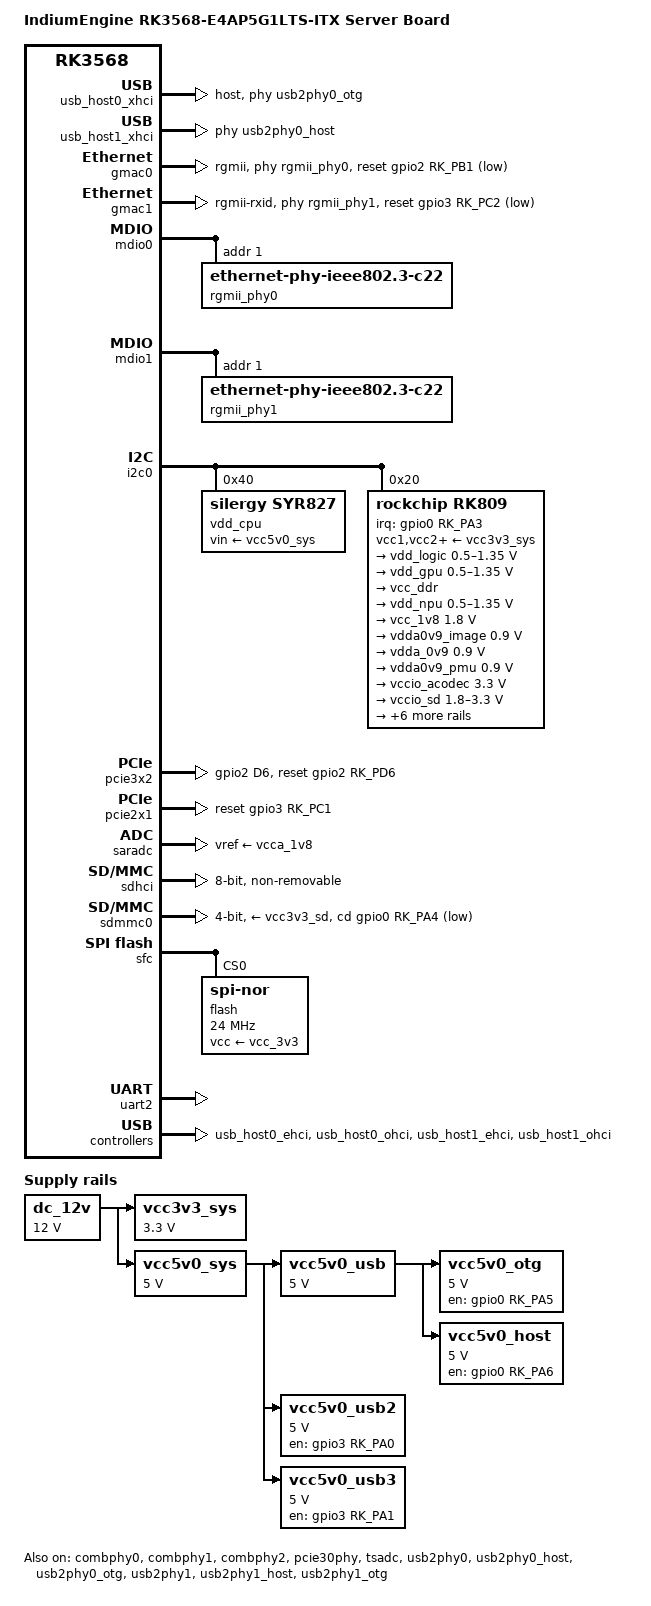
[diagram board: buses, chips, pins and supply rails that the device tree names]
// SPDX-License-Identifier: (GPL-2.0+ OR MIT)
/*
 * Device tree for the IndiumEngine RK3568-E4AP5G1LTS-ITX server board
 * (3-SATA variant) for FreeBSD.
 *
 * Ported from the vendor Linux 6.1 sources:
 *   doc/vendor/rk3568-e4ap5g1lts-itx.dtsi
 *   doc/vendor/rk3568-e4ap5g1lts-itx-3sata.dts
 *
 * Board-specific facts carried over:
 *   - console on uart2 (ttyS2 style, 115200n8)
 *   - RK809 PMIC on i2c0 + SYR827 CPU regulator
 *   - SD (sdmmc0, cd-gpio GPIO0_A4) and eMMC (sdhci, 8-bit)
 *   - all three combinational phys in SATA mode (multiphy mux selects
 *     forced active-low by U-Boot; kept as always-on fixed regulators)
 *   - USB3 super-speed lanes disabled (dwc3 limited to high-speed)
 *   - two RGMII GMACs with Realtek PHYs
 *   - SPI NOR on sfc, PCIe3x2 slot with GPIO reset
 * FreeBSD has no VOP2/HDMI display support, so the display pipeline is
 * left out on purpose.
 */

/dts-v1/;

#include <dt-bindings/gpio/gpio.h>
#include <dt-bindings/interrupt-controller/irq.h>
#include <dt-bindings/pinctrl/rockchip.h>
#include "rk3568.dtsi"

/ {
	model = "IndiumEngine RK3568-E4AP5G1LTS-ITX Server Board";
	compatible = "rockchip,rk3568-e4ap5g1-itx", "rockchip,rk3568";

	aliases {
		ethernet0 = &gmac0;
		ethernet1 = &gmac1;
		mmc0 = &sdmmc0;
		mmc1 = &sdhci;
		serial2 = &uart2;
	};

	chosen {
		stdout-path = "serial2:115200n8";
	};

	dc_12v: regulator-dc-12v {
		compatible = "regulator-fixed";
		regulator-name = "dc_12v";
		regulator-always-on;
		regulator-boot-on;
		regulator-min-microvolt = <12000000>;
		regulator-max-microvolt = <12000000>;
	};

	vcc3v3_sys: regulator-vcc3v3-sys {
		compatible = "regulator-fixed";
		regulator-name = "vcc3v3_sys";
		regulator-always-on;
		regulator-boot-on;
		regulator-min-microvolt = <3300000>;
		regulator-max-microvolt = <3300000>;
		vin-supply = <&dc_12v>;
	};

	vcc5v0_sys: regulator-vcc5v0-sys {
		compatible = "regulator-fixed";
		regulator-name = "vcc5v0_sys";
		regulator-always-on;
		regulator-boot-on;
		regulator-min-microvolt = <5000000>;
		regulator-max-microvolt = <5000000>;
		vin-supply = <&dc_12v>;
	};

	vcc5v0_usb: regulator-vcc5v0-usb {
		compatible = "regulator-fixed";
		regulator-name = "vcc5v0_usb";
		regulator-always-on;
		regulator-boot-on;
		regulator-min-microvolt = <5000000>;
		regulator-max-microvolt = <5000000>;
		vin-supply = <&vcc5v0_sys>;
	};

	/*
	 * GPIO-gated 5V rails feeding the USB Type-A connectors
	 * (gpio0_A5 = OTG-side jack VBUS, gpio0_A6 = host-jack VBUS),
	 * matching doc/vendor/rk3568-e4ap5g1lts-itx.dtsi.  These pins were
	 * previously recorded as "multiphy mux" placeholders that held both
	 * lines low, leaving every onboard USB port unpowered.
	 */
	vcc5v0_otg: regulator-vcc5v0-otg {
		compatible = "regulator-fixed";
		regulator-name = "vcc5v0_otg";
		regulator-min-microvolt = <5000000>;
		regulator-max-microvolt = <5000000>;
		gpio = <&gpio0 RK_PA5 GPIO_ACTIVE_HIGH>;
		enable-active-high;
		regulator-boot-on;
		vin-supply = <&vcc5v0_usb>;
	};

	vcc5v0_host: regulator-vcc5v0-host {
		compatible = "regulator-fixed";
		regulator-name = "vcc5v0_host";
		regulator-min-microvolt = <5000000>;
		regulator-max-microvolt = <5000000>;
		gpio = <&gpio0 RK_PA6 GPIO_ACTIVE_HIGH>;
		enable-active-high;
		regulator-boot-on;
		vin-supply = <&vcc5v0_usb>;
	};

	/*
	 * Type-A socket VBUS gates on GPIO3_A0/A1 (schematic USB2_VBUS_EN /
	 * USB3_VBUS_EN).  These are the rails the vendor and Linux trees
	 * wire every usb2phy port supply to; without them the panel
	 * connectors stay unpowered no matter what the USB2PHY lane does.
	 * No pinctrl-0 here on purpose: the rockchip pinctrl nodes are not
	 * consumed by the FreeBSD fixed-regulator driver and the GPIO is
	 * driven directly.
	 */
	vcc5v0_usb2: regulator-vcc5v0-usb2 {
		compatible = "regulator-fixed";
		regulator-name = "vcc5v0_usb2";
		regulator-min-microvolt = <5000000>;
		regulator-max-microvolt = <5000000>;
		gpio = <&gpio3 RK_PA0 GPIO_ACTIVE_HIGH>;
		enable-active-high;
		regulator-boot-on;
		vin-supply = <&vcc5v0_sys>;
	};

	vcc5v0_usb3: regulator-vcc5v0-usb3 {
		compatible = "regulator-fixed";
		regulator-name = "vcc5v0_usb3";
		regulator-min-microvolt = <5000000>;
		regulator-max-microvolt = <5000000>;
		gpio = <&gpio3 RK_PA1 GPIO_ACTIVE_HIGH>;
		enable-active-high;
		regulator-boot-on;
		vin-supply = <&vcc5v0_sys>;
	};
};

/*
 * All three combinational phys enabled (SATA lanes are not used by the
 * FreeBSD bring-up; combphy0/1 keep USB3, combphy2 is idle/PCIe).
 */
&combphy0 {
	status = "okay";
};

&combphy1 {
	status = "okay";
};

&combphy2 {
	status = "okay";
};

/*
 * SATA disabled for FreeBSD NFS bring-up: the dwc-ahci probe of
 * sata@fc400000 (sata1) triggers an SoC external abort (esr 0xbe000011)
 * during channel init, before NFS root mounts.  The bring-up targets are
 * NFS root over gmac1 and the PCIe x4 slot (EHCI card + RTL8188EU),
 * neither of which needs SATA.  Re-enable once the AHCI abort is fixed.
 */
&sata0 {
	status = "disabled";
};

&sata1 {
	status = "disabled";
};

&sata2 {
	status = "disabled";
};

/*
 * USB3 super-speed lanes are muxed to SATA on this board, so both dwc3
 * controllers are limited to USB 2.0 high speed.
 */
&usb_host0_xhci {
	dr_mode = "host";
	phys = <&usb2phy0_otg>;
	phy-names = "usb2-phy";
	maximum-speed = "high-speed";
	status = "okay";
};

&usb_host1_xhci {
	phys = <&usb2phy0_host>;
	phy-names = "usb2-phy";
	maximum-speed = "high-speed";
	status = "okay";
};

&gmac0 {
	assigned-clocks = <&cru SCLK_GMAC0_RX_TX>, <&cru SCLK_GMAC0>;
	assigned-clock-parents = <&cru SCLK_GMAC0_RGMII_SPEED>;
	assigned-clock-rates = <0>, <125000000>;

	clock_in_out = "output";
	phy-handle = <&rgmii_phy0>;
	phy-mode = "rgmii";
	pinctrl-names = "default";
	pinctrl-0 = <&gmac0_miim
		     &gmac0_tx_bus2
		     &gmac0_rx_bus2
		     &gmac0_rgmii_clk
		     &gmac0_rgmii_bus>;
	snps,reset-gpio = <&gpio2 RK_PB1 GPIO_ACTIVE_LOW>;
	snps,reset-active-low;
	snps,reset-delays-us = <0 20000 100000>;
	tx_delay = <0x4f>;
	rx_delay = <0x26>;
	/*
	 * Fixed board MACs (U-Boot ethaddr convention: gmac0 = f6:dc:54:d8:f1:a6,
	 * gmac1 = ethaddr+4 = fa:dc:54:d8:f1:a6).  The eqos driver reads these
	 * from DT because the U-Boot-written MAC is lost on GMAC soft reset.
	 */
	local-mac-address = [f6 dc 54 d8 f1 a6];
	status = "okay";
};

&gmac1 {
	assigned-clocks = <&cru SCLK_GMAC1_RX_TX>, <&cru SCLK_GMAC1>;
	assigned-clock-parents = <&cru SCLK_GMAC1_RGMII_SPEED>;
	assigned-clock-rates = <0>, <125000000>;

	clock_in_out = "output";
	pinctrl-names = "default";
	pinctrl-0 = <&gmac1m0_miim
		     &gmac1m0_tx_bus2
		     &gmac1m0_rx_bus2
		     &gmac1m0_rgmii_clk
		     &gmac1m0_rgmii_bus
		     &gmac1m0_clkinout>;
	phy-handle = <&rgmii_phy1>;
	phy-mode = "rgmii-rxid";
	snps,reset-gpio = <&gpio3 RK_PC2 GPIO_ACTIVE_LOW>;
	snps,reset-active-low;
	snps,reset-delays-us = <0 20000 100000>;
	/*
	 * NFS root boots over gmac1.  FreeBSD's rgephy does not program the
	 * PHY's RGMII delays, so unlike Linux (which sets the PHY-side RX
	 * delay for "rgmii-rxid"), the MAC-side GRF delays must carry the
	 * timing.  Use the values Linux boots with on this board
	 * (tx_delay=0x3c, rx_delay=0x03); rx_delay=0x00 left RX with CRC
	 * errors ("Receive error rdes3=...RE") and the NFS mount stalled.
	 */
	tx_delay = <0x3c>;
	rx_delay = <0x03>;
	status = "okay";
	local-mac-address = [fa dc 54 d8 f1 a6];
};

&mdio0 {
	rgmii_phy0: phy@1 {
		compatible = "ethernet-phy-ieee802.3-c22";
		reg = <0x1>;
	};
};

&mdio1 {
	rgmii_phy1: phy@1 {
		compatible = "ethernet-phy-ieee802.3-c22";
		reg = <0x1>;
	};
};

&i2c0 {
	status = "okay";

	vdd_cpu: regulator@40 {
		compatible = "silergy,syr827";
		reg = <0x40>;
		fcs,suspend-voltage-selector = <1>;
		regulator-name = "vdd_cpu";
		regulator-min-microvolt = <800000>;
		regulator-max-microvolt = <1150000>;
		regulator-ramp-delay = <2300>;
		regulator-always-on;
		regulator-boot-on;
		vin-supply = <&vcc5v0_sys>;
	};

	rk809: pmic@20 {
		compatible = "rockchip,rk809";
		reg = <0x20>;
		interrupt-parent = <&gpio0>;
		interrupts = <RK_PA3 IRQ_TYPE_LEVEL_LOW>;
		#clock-cells = <1>;
		pinctrl-names = "default";
		pinctrl-0 = <&pmic_int>;
		system-power-controller;
		vcc1-supply = <&vcc3v3_sys>;
		vcc2-supply = <&vcc3v3_sys>;
		vcc3-supply = <&vcc3v3_sys>;
		vcc4-supply = <&vcc3v3_sys>;
		vcc5-supply = <&vcc3v3_sys>;
		vcc6-supply = <&vcc3v3_sys>;
		vcc7-supply = <&vcc3v3_sys>;
		vcc8-supply = <&vcc3v3_sys>;
		vcc9-supply = <&vcc3v3_sys>;
		wakeup-source;

		regulators {
			vdd_logic: DCDC_REG1 {
				regulator-name = "vdd_logic";
				regulator-always-on;
				regulator-boot-on;
				regulator-initial-mode = <0x2>;
				regulator-min-microvolt = <500000>;
				regulator-max-microvolt = <1350000>;
				regulator-ramp-delay = <6001>;
			};

			vdd_gpu: DCDC_REG2 {
				regulator-name = "vdd_gpu";
				regulator-initial-mode = <0x2>;
				regulator-min-microvolt = <500000>;
				regulator-max-microvolt = <1350000>;
				regulator-ramp-delay = <6001>;
			};

			vcc_ddr: DCDC_REG3 {
				regulator-name = "vcc_ddr";
				regulator-always-on;
				regulator-boot-on;
				regulator-initial-mode = <0x2>;
			};

			vdd_npu: DCDC_REG4 {
				regulator-name = "vdd_npu";
				regulator-initial-mode = <0x2>;
				regulator-min-microvolt = <500000>;
				regulator-max-microvolt = <1350000>;
				regulator-ramp-delay = <6001>;
			};

			vcc_1v8: DCDC_REG5 {
				regulator-name = "vcc_1v8";
				regulator-always-on;
				regulator-boot-on;
				regulator-min-microvolt = <1800000>;
				regulator-max-microvolt = <1800000>;
			};

			vdda0v9_image: LDO_REG1 {
				regulator-name = "vdda0v9_image";
				regulator-min-microvolt = <900000>;
				regulator-max-microvolt = <900000>;
			};

			vdda_0v9: LDO_REG2 {
				regulator-name = "vdda_0v9";
				regulator-always-on;
				regulator-boot-on;
				regulator-min-microvolt = <900000>;
				regulator-max-microvolt = <900000>;
			};

			vdda0v9_pmu: LDO_REG3 {
				regulator-name = "vdda0v9_pmu";
				regulator-always-on;
				regulator-boot-on;
				regulator-min-microvolt = <900000>;
				regulator-max-microvolt = <900000>;
			};

			vccio_acodec: LDO_REG4 {
				regulator-name = "vccio_acodec";
				regulator-min-microvolt = <3300000>;
				regulator-max-microvolt = <3300000>;
			};

			vccio_sd: LDO_REG5 {
				regulator-name = "vccio_sd";
				regulator-min-microvolt = <1800000>;
				regulator-max-microvolt = <3300000>;
			};

			vcc3v3_pmu: LDO_REG6 {
				regulator-name = "vcc3v3_pmu";
				regulator-always-on;
				regulator-boot-on;
				regulator-min-microvolt = <3300000>;
				regulator-max-microvolt = <3300000>;
			};

			vcca_1v8: LDO_REG7 {
				regulator-name = "vcca_1v8";
				regulator-always-on;
				regulator-boot-on;
				regulator-min-microvolt = <1800000>;
				regulator-max-microvolt = <1800000>;
			};

			vcca1v8_pmu: LDO_REG8 {
				regulator-name = "vcca1v8_pmu";
				regulator-always-on;
				regulator-boot-on;
				regulator-min-microvolt = <1800000>;
				regulator-max-microvolt = <1800000>;
			};

			vcca1v8_image: LDO_REG9 {
				regulator-name = "vcca1v8_image";
				regulator-min-microvolt = <1800000>;
				regulator-max-microvolt = <1800000>;
			};

			vcc_3v3: SWITCH_REG1 {
				regulator-name = "vcc_3v3";
				regulator-always-on;
				regulator-boot-on;
			};

			vcc3v3_sd: SWITCH_REG2 {
				regulator-name = "vcc3v3_sd";
				regulator-always-on;
				regulator-boot-on;
			};
		};
	};
};

&pcie30phy {
	status = "okay";
};

&pcie3x2 {
	pinctrl-names = "default";
	pinctrl-0 = <&pcie_reset_pin>;
	reset-gpios = <&gpio2 RK_PD6 GPIO_ACTIVE_HIGH>;
	/*
	 * Override the pcie3x2 ranges to expose only IO + 32-bit MEM.
	 * The MCS9990 PCIe-to-USB card has 32-bit BARs; with the upstream
	 * MEM64 range FreeBSD assigns its BARs into the 64-bit window and the
	 * resulting bus-space mapping comes out unaligned, so EHCI/OHCI MMIO
	 * accesses fault on arm64 ("Misaligned access").  Restricting to
	 * 32-bit MEM (0xf0200000-0xf3e00000) keeps BARs in the aligned
	 * direct-mapped window.
	 */
	ranges = <0x01000000 0x0 0xf0100000 0x0 0xf0100000 0x0 0x00100000>,
		 <0x02000000 0x0 0xf0200000 0x0 0xf0200000 0x0 0x01e00000>;
	status = "okay";
};

/*
 * PCIe 2.0 x1 M.2 22110 slot (SM2263EN NVMe).  PERST# on GPIO3_PC1,
 * GPIO_ACTIVE_HIGH matches the Linux board DTB (assert = pin low).
 * combphy2 is muxed to PCIe here (sata2 is disabled below); the dtsi
 * ships pcie2x1 with status="disabled", so this override is what brings
 * the second controller up.
 *
 * Override the dtsi ranges to expose only IO + 32-bit MEM.  The upstream
 * third range (64-bit MEM: PCI 0x40000000 -> CPU 0x3_00000000) makes
 * FreeBSD assign the SM2263EN's 64-bit BAR at PCI 0x40000000, which the
 * root port cannot forward (MEM32 window tops out below 4GB; the
 * prefetchable window is never programmed), so all BAR MMIO reads return
 * 0xFF.  The garbage CAP then yields MPSMIN=15 -> page_size 2^27 ->
 * (page_size/8)*page_size overflows to 0 -> nvme max_xfer_size=0 and
 * identify fails ("len (4096) exceeds max_xfer_size (0)").  Restricting
 * to the 32-bit MEM window (same fix as pcie3x2 above) keeps the BAR
 * below 4GB where the bridge window and iATU view both work.
 */
&pcie2x1 {
	reset-gpios = <&gpio3 RK_PC1 GPIO_ACTIVE_HIGH>;
	ranges = <0x01000000 0x0 0xf4100000 0x0 0xf4100000 0x0 0x00100000>,
		 <0x02000000 0x0 0xf4200000 0x0 0xf4200000 0x0 0x01e00000>;
	status = "okay";
};

&pinctrl {
	pcie {
		pcie_reset_pin: pcie-reset-pin {
			rockchip,pins = <2 RK_PD6 RK_FUNC_GPIO &pcfg_pull_none>;
		};
	};

	pmic {
		pmic_int: pmic-int {
			rockchip,pins = <0 RK_PA3 RK_FUNC_GPIO &pcfg_pull_up>;
		};
	};
};

&pmu_io_domains {
	pmuio1-supply = <&vcc3v3_pmu>;
	pmuio2-supply = <&vcc3v3_pmu>;
	vccio1-supply = <&vccio_acodec>;
	vccio2-supply = <&vcc_1v8>;
	vccio3-supply = <&vccio_sd>;
	vccio4-supply = <&vcc_1v8>;
	vccio5-supply = <&vcc_3v3>;
	vccio6-supply = <&vcc_1v8>;
	vccio7-supply = <&vcc_3v3>;
	status = "okay";
};

&saradc {
	vref-supply = <&vcca_1v8>;
	status = "okay";
};

&sdhci {
	bus-width = <8>;
	max-frequency = <52000000>;
	non-removable;
	pinctrl-names = "default";
	pinctrl-0 = <&emmc_bus8 &emmc_clk &emmc_cmd &emmc_datastrobe>;
	status = "okay";
};

&sdmmc0 {
	bus-width = <4>;
	cap-sd-highspeed;
	cd-gpios = <&gpio0 RK_PA4 GPIO_ACTIVE_LOW>;
	disable-wp;
	pinctrl-names = "default";
	pinctrl-0 = <&sdmmc0_bus4 &sdmmc0_clk &sdmmc0_cmd &sdmmc0_det>;
	sd-uhs-sdr104;
	vmmc-supply = <&vcc3v3_sd>;
	vqmmc-supply = <&vccio_sd>;
	status = "okay";
};

&sfc {
	pinctrl-0 = <&fspi_pins>;
	pinctrl-names = "default";
	#address-cells = <1>;
	#size-cells = <0>;
	status = "okay";

	flash@0 {
		compatible = "jedec,spi-nor";
		reg = <0>;
		spi-max-frequency = <24000000>;
		spi-rx-bus-width = <4>;
		spi-tx-bus-width = <1>;
		vcc-supply = <&vcc_3v3>;
	};
};

&tsadc {
	status = "okay";
};

&uart2 {
	pinctrl-names = "default";
	pinctrl-0 = <&uart2m0_xfer>;
	status = "okay";
};

&usb2phy0 {
	status = "okay";
};

/* Supply wiring mirrors the vendor/Linux tree: the GPIO3_A0 rail feeds
 * every Type-A lane except the otg jack, which is on GPIO3_A1. */
&usb2phy0_host {
	phy-supply = <&vcc5v0_usb2>;
	status = "okay";
};

&usb2phy0_otg {
	phy-supply = <&vcc5v0_usb3>;
	status = "okay";
};

&usb2phy1 {
	status = "okay";
};

&usb2phy1_host {
	phy-supply = <&vcc5v0_usb2>;
	status = "okay";
};

&usb2phy1_otg {
	phy-supply = <&vcc5v0_usb2>;
	status = "okay";
};

&usb_host0_ehci {
	status = "okay";
};

&usb_host0_ohci {
	status = "okay";
};

&usb_host1_ehci {
	status = "okay";
};

&usb_host1_ohci {
	status = "okay";
};
